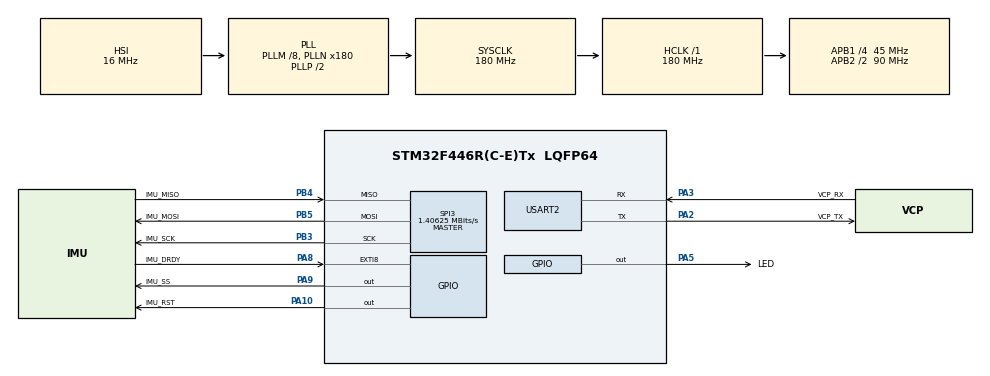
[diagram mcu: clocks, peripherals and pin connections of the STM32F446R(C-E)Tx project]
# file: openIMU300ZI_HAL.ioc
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Mcu.Family=STM32F4
Mcu.Name=STM32F446R(C-E)Tx
Mcu.Package=LQFP64
NVIC.EXTI9_5_IRQn=true\:0\:0\:false\:false\:true\:true\:true
NVIC.PriorityGroup=NVIC_PRIORITYGROUP_4
PA10.GPIO_Label=IMU_RST
PA10.Signal=GPIO_Output
PA2.GPIO_Label=VCP_TX
PA2.Mode=Asynchronous
PA2.Signal=USART2_TX
PA3.GPIO_Label=VCP_RX
PA3.Mode=Asynchronous
PA3.Signal=USART2_RX
PA5.GPIO_Label=LED
PA5.Signal=GPIO_Output
PA8.GPIO_Label=IMU_DRDY
PA8.GPIO_ModeDefaultEXTI=GPIO_MODE_IT_FALLING
PA8.Signal=GPXTI8
PA9.GPIO_Label=IMU_SS
PA9.GPIO_Speed=GPIO_SPEED_FREQ_LOW
PA9.PinState=GPIO_PIN_SET
PA9.Signal=GPIO_Output
PB3.GPIO_Label=IMU_SCK
PB3.Mode=Full_Duplex_Master
PB3.Signal=SPI3_SCK
PB4.GPIO_Label=IMU_MISO
PB4.Mode=Full_Duplex_Master
PB4.Signal=SPI3_MISO
PB5.GPIO_Label=IMU_MOSI
PB5.Mode=Full_Duplex_Master
PB5.Signal=SPI3_MOSI
PH0-OSC_IN.Mode=HSE-External-Clock-Source
PH0-OSC_IN.Signal=RCC_OSC_IN
PH1-OSC_OUT.Mode=HSE-External-Clock-Source
PH1-OSC_OUT.Signal=RCC_OSC_OUT
ProjectManager.HeapSize=0x200
ProjectManager.StackSize=0x400
ProjectManager.TargetToolchain=SW4STM32
RCC.AHBFreq_Value=180000000
RCC.APB1CLKDivider=RCC_HCLK_DIV4
RCC.APB1Freq_Value=45000000
RCC.APB1TimFreq_Value=90000000
RCC.APB2CLKDivider=RCC_HCLK_DIV2
RCC.APB2Freq_Value=90000000
RCC.APB2TimFreq_Value=180000000
RCC.CortexFreq_Value=180000000
RCC.HCLKFreq_Value=180000000
RCC.HSE_VALUE=8000000
RCC.PLLM=8
RCC.PLLN=180
RCC.SYSCLKFreq_VALUE=180000000
RCC.SYSCLKSource=RCC_SYSCLKSOURCE_PLLCLK
RCC.USBFreq_Value=180000000
RCC.VCOOutputFreq_Value=360000000
SPI3.BaudRatePrescaler=SPI_BAUDRATEPRESCALER_32
SPI3.CLKPhase=SPI_PHASE_2EDGE
SPI3.CLKPolarity=SPI_POLARITY_HIGH
SPI3.CalculateBaudRate=1.40625 MBits/s
SPI3.DataSize=SPI_DATASIZE_16BIT
SPI3.Direction=SPI_DIRECTION_2LINES
SPI3.Mode=SPI_MODE_MASTER
SPI3.VirtualType=VM_MASTER
USART2.VirtualMode=VM_ASYNC
board=custom

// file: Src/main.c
/**
  ******************************************************************************
  * @file           : main.c
  * @brief          : Main program body
  ******************************************************************************
  ** This notice applies to any and all portions of this file
  * that are not between comment pairs USER CODE BEGIN and
  * USER CODE END. Other portions of this file, whether
  * inserted by the user or by software development tools
  * are owned by their respective copyright owners.
  *
  * COPYRIGHT(c) 2019 STMicroelectronics
  *
  * Redistribution and use in source and binary forms, with or without modification,
  * are permitted provided that the following conditions are met:
  *   1. Redistributions of source code must retain the above copyright notice,
  *      this list of conditions and the following disclaimer.
  *   2. Redistributions in binary form must reproduce the above copyright notice,
  *      this list of conditions and the following disclaimer in the documentation
  *      and/or other materials provided with the distribution.
  *   3. Neither the name of STMicroelectronics nor the names of its contributors
  *      may be used to endorse or promote products derived from this software
  *      without specific prior written permission.
  *
  * THIS SOFTWARE IS PROVIDED BY THE COPYRIGHT HOLDERS AND CONTRIBUTORS "AS IS"
  * AND ANY EXPRESS OR IMPLIED WARRANTIES, INCLUDING, BUT NOT LIMITED TO, THE
  * IMPLIED WARRANTIES OF MERCHANTABILITY AND FITNESS FOR A PARTICULAR PURPOSE ARE
  * DISCLAIMED. IN NO EVENT SHALL THE COPYRIGHT HOLDER OR CONTRIBUTORS BE LIABLE
  * FOR ANY DIRECT, INDIRECT, INCIDENTAL, SPECIAL, EXEMPLARY, OR CONSEQUENTIAL
  * DAMAGES (INCLUDING, BUT NOT LIMITED TO, PROCUREMENT OF SUBSTITUTE GOODS OR
  * SERVICES; LOSS OF USE, DATA, OR PROFITS; OR BUSINESS INTERRUPTION) HOWEVER
  * CAUSED AND ON ANY THEORY OF LIABILITY, WHETHER IN CONTRACT, STRICT LIABILITY,
  * OR TORT (INCLUDING NEGLIGENCE OR OTHERWISE) ARISING IN ANY WAY OUT OF THE USE
  * OF THIS SOFTWARE, EVEN IF ADVISED OF THE POSSIBILITY OF SUCH DAMAGE.
  *
  ******************************************************************************
  */
#include "main.h"
#include "stm32f4xx_hal.h"

/* USER CODE BEGIN Includes */
#include <stdio.h>
/* USER CODE END Includes */

SPI_HandleTypeDef hspi3;

UART_HandleTypeDef huart2;

/* USER CODE BEGIN PV */
/* Private variables ---------------------------------------------------------*/
ImuDriverPtr imu_driver;
ImuInterfacePtr imu_interface;
/* USER CODE END PV */

void SystemClock_Config(void);
static void MX_GPIO_Init(void);
static void MX_SPI3_Init(void);
static void MX_USART2_UART_Init(void);

/* USER CODE BEGIN PFP */
/* Private function prototypes -----------------------------------------------*/

static void MX_IMU_Driver_Init(void);
/* USER CODE END PFP */

int main(void)
{

  /* MCU Configuration----------------------------------------------------------*/

  /* Reset of all peripherals, Initializes the Flash interface and the Systick. */
  HAL_Init();

  /* Configure the system clock */
  SystemClock_Config();

  /* Initialize all configured peripherals */
  MX_GPIO_Init();
  MX_SPI3_Init();
  MX_USART2_UART_Init();
  /* USER CODE BEGIN 2 */
  MX_IMU_Driver_Init();
  /* USER CODE END 2 */

  /* Infinite loop */
  while (1) {

  /* USER CODE BEGIN 3 */
//    ImuRawData raw_imu_data = imuDriverGetImuRawData(imu_driver);
//    ImuData imu_data = imuDriverGetImuData(imu_driver);
	  AhrsData ahrs_data = imuDriverGetAhrsProcessedData(imu_driver);
	  printf("%.3f, %.3f, %.3f\n\r", ahrs_data.attitude[0], ahrs_data.attitude[1], ahrs_data.attitude[2]);
//    printf("% .3f, % .3f, % .3f, % .3f, % .3f, % .3f, % d\r\n", imu_data.rate[0], imu_data.rate[1],
//           imu_data.rate[2], imu_data.accel[0], imu_data.accel[1], imu_data.accel[2], raw_imu_data.temp);
  }
  /* USER CODE END 3 */

}

void SystemClock_Config(void)
{

  RCC_OscInitTypeDef RCC_OscInitStruct;
  RCC_ClkInitTypeDef RCC_ClkInitStruct;

    /**Configure the main internal regulator output voltage
    */
  __HAL_RCC_PWR_CLK_ENABLE();

  __HAL_PWR_VOLTAGESCALING_CONFIG(PWR_REGULATOR_VOLTAGE_SCALE1);

    /**Initializes the CPU, AHB and APB busses clocks
    */
  RCC_OscInitStruct.OscillatorType = RCC_OSCILLATORTYPE_HSI;
  RCC_OscInitStruct.HSIState = RCC_HSI_ON;
  RCC_OscInitStruct.HSICalibrationValue = 16;
  RCC_OscInitStruct.PLL.PLLState = RCC_PLL_ON;
  RCC_OscInitStruct.PLL.PLLSource = RCC_PLLSOURCE_HSI;
  RCC_OscInitStruct.PLL.PLLM = 8;
  RCC_OscInitStruct.PLL.PLLN = 180;
  RCC_OscInitStruct.PLL.PLLP = RCC_PLLP_DIV2;
  RCC_OscInitStruct.PLL.PLLQ = 2;
  RCC_OscInitStruct.PLL.PLLR = 2;
  if (HAL_RCC_OscConfig(&RCC_OscInitStruct) != HAL_OK)
  {
    _Error_Handler(__FILE__, __LINE__);
  }

    /**Activate the Over-Drive mode
    */
  if (HAL_PWREx_EnableOverDrive() != HAL_OK)
  {
    _Error_Handler(__FILE__, __LINE__);
  }

    /**Initializes the CPU, AHB and APB busses clocks
    */
  RCC_ClkInitStruct.ClockType = RCC_CLOCKTYPE_HCLK|RCC_CLOCKTYPE_SYSCLK
                              |RCC_CLOCKTYPE_PCLK1|RCC_CLOCKTYPE_PCLK2;
  RCC_ClkInitStruct.SYSCLKSource = RCC_SYSCLKSOURCE_PLLCLK;
  RCC_ClkInitStruct.AHBCLKDivider = RCC_SYSCLK_DIV1;
  RCC_ClkInitStruct.APB1CLKDivider = RCC_HCLK_DIV4;
  RCC_ClkInitStruct.APB2CLKDivider = RCC_HCLK_DIV2;

  if (HAL_RCC_ClockConfig(&RCC_ClkInitStruct, FLASH_LATENCY_5) != HAL_OK)
  {
    _Error_Handler(__FILE__, __LINE__);
  }

    /**Configure the Systick interrupt time
    */
  HAL_SYSTICK_Config(HAL_RCC_GetHCLKFreq()/1000);

    /**Configure the Systick
    */
  HAL_SYSTICK_CLKSourceConfig(SYSTICK_CLKSOURCE_HCLK);

  /* SysTick_IRQn interrupt configuration */
  HAL_NVIC_SetPriority(SysTick_IRQn, 0, 0);
}

/* SPI3 init function */
static void MX_SPI3_Init(void)
{

  /* SPI3 parameter configuration*/
  hspi3.Instance = SPI3;
  hspi3.Init.Mode = SPI_MODE_MASTER;
  hspi3.Init.Direction = SPI_DIRECTION_2LINES;
  hspi3.Init.DataSize = SPI_DATASIZE_16BIT;
  hspi3.Init.CLKPolarity = SPI_POLARITY_HIGH;
  hspi3.Init.CLKPhase = SPI_PHASE_2EDGE;
  hspi3.Init.NSS = SPI_NSS_SOFT;
  hspi3.Init.BaudRatePrescaler = SPI_BAUDRATEPRESCALER_32;
  hspi3.Init.FirstBit = SPI_FIRSTBIT_MSB;
  hspi3.Init.TIMode = SPI_TIMODE_DISABLE;
  hspi3.Init.CRCCalculation = SPI_CRCCALCULATION_DISABLE;
  hspi3.Init.CRCPolynomial = 10;
  if (HAL_SPI_Init(&hspi3) != HAL_OK)
  {
    _Error_Handler(__FILE__, __LINE__);
  }

}

/* USART2 init function */
static void MX_USART2_UART_Init(void)
{

  huart2.Instance = USART2;
  huart2.Init.BaudRate = 115200;
  huart2.Init.WordLength = UART_WORDLENGTH_8B;
  huart2.Init.StopBits = UART_STOPBITS_1;
  huart2.Init.Parity = UART_PARITY_NONE;
  huart2.Init.Mode = UART_MODE_TX_RX;
  huart2.Init.HwFlowCtl = UART_HWCONTROL_NONE;
  huart2.Init.OverSampling = UART_OVERSAMPLING_16;
  if (HAL_UART_Init(&huart2) != HAL_OK)
  {
    _Error_Handler(__FILE__, __LINE__);
  }

}

/** Configure pins as
        * Analog
        * Input
        * Output
        * EVENT_OUT
        * EXTI
*/
static void MX_GPIO_Init(void)
{

  GPIO_InitTypeDef GPIO_InitStruct;

  /* GPIO Ports Clock Enable */
  __HAL_RCC_GPIOH_CLK_ENABLE();
  __HAL_RCC_GPIOA_CLK_ENABLE();
  __HAL_RCC_GPIOB_CLK_ENABLE();

  /*Configure GPIO pin Output Level */
  HAL_GPIO_WritePin(GPIOA, LED_Pin|IMU_RST_Pin, GPIO_PIN_RESET);

  /*Configure GPIO pin Output Level */
  HAL_GPIO_WritePin(IMU_SS_GPIO_Port, IMU_SS_Pin, GPIO_PIN_SET);

  /*Configure GPIO pins : LED_Pin IMU_SS_Pin IMU_RST_Pin */
  GPIO_InitStruct.Pin = LED_Pin|IMU_SS_Pin|IMU_RST_Pin;
  GPIO_InitStruct.Mode = GPIO_MODE_OUTPUT_PP;
  GPIO_InitStruct.Pull = GPIO_NOPULL;
  GPIO_InitStruct.Speed = GPIO_SPEED_FREQ_LOW;
  HAL_GPIO_Init(GPIOA, &GPIO_InitStruct);

  /*Configure GPIO pin : IMU_DRDY_Pin */
  GPIO_InitStruct.Pin = IMU_DRDY_Pin;
  GPIO_InitStruct.Mode = GPIO_MODE_IT_FALLING;
  GPIO_InitStruct.Pull = GPIO_NOPULL;
  HAL_GPIO_Init(IMU_DRDY_GPIO_Port, &GPIO_InitStruct);

  /* EXTI interrupt init*/
  HAL_NVIC_SetPriority(EXTI9_5_IRQn, 0, 0);
  HAL_NVIC_EnableIRQ(EXTI9_5_IRQn);

}

/* USER CODE BEGIN 4 */
int _write(__unused int file, __unused char *ptr, int len) {
  HAL_UART_Transmit(&huart2, (uint8_t *)ptr, len, HAL_MAX_DELAY);

  return len;
}

/**
 * @brief This function handle the initialization of imu interface
 */
void MX_IMU_Driver_Init(void) {
  imu_interface = HAL_ImuInterfaceCreate(IMU_RST_GPIO_Port, IMU_RST_Pin);
  HAL_ImuInterfaceSetupSpi(imu_interface, &hspi3, IMU_DRDY_GPIO_Port,
                           IMU_DRDY_Pin, IMU_SS_GPIO_Port, IMU_SS_Pin);

  imu_driver = imuDriverCreate(FrameworkSpi, imu_interface);
}
/* USER CODE END 4 */

void _Error_Handler(char *file, int line)
{
  /* USER CODE BEGIN Error_Handler_Debug */
  (void)(file);
  (void)(line);
  /* User can add his own implementation to report the HAL error return state */
  while (1) {
  }
  /* USER CODE END Error_Handler_Debug */
}

#ifdef  USE_FULL_ASSERT
/**
  * @brief  Reports the name of the source file and the source line number
  *         where the assert_param error has occurred.
  * @param  file: pointer to the source file name
  * @param  line: assert_param error line source number
  * @retval None
  */
void assert_failed(uint8_t* file, uint32_t line)
{
  /* USER CODE BEGIN 6 */
  /* User can add his own implementation to report the file name and line
     number,
     tex: printf("Wrong parameters value: file %s on line %d\r\n", file, line)
   */
  /* USER CODE END 6 */
}
#endif /* USE_FULL_ASSERT */

/************************ (C) COPYRIGHT STMicroelectronics *****END OF FILE****/
